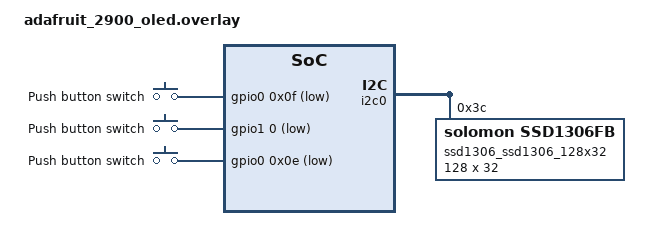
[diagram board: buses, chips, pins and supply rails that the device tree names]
/*
 * Copyright (c) 2019 PHYTEC Messtechnik GmbH
 *
 * SPDX-License-Identifier: Apache-2.0
 */

/ {
	chosen {
		zephyr,display = &ssd1306_ssd1306_128x32;
	};
};

/ {
	buttons {
		compatible = "gpio-keys";
		buttona: button_a {
			gpios = <&gpio0 0x0f 0x11>;
			label = "Push button switch";
			zephyr,code = <INPUT_KEY_A>;
		};
		buttonb: button_b {
			gpios = <&gpio1 0 0x01 >;
			label = "Push button switch";
			zephyr,code = <INPUT_KEY_B>;
		};
		buttonc: button_c {
			gpios = <&gpio0 0x0e 0x11 >;
			label = "Push button switch";
			zephyr,code = <INPUT_KEY_C>;
		};
	};
};
&i2c0 {
	status = "okay";
	ssd1306_ssd1306_128x32: ssd1306@3c {
		compatible = "solomon,ssd1306fb";
		reg = <0x3c>;
		width = <128>;
		height = <32>;
		segment-offset = <0>;
		page-offset = <0>;
		display-offset = <0>;
		multiplex-ratio = <31>;
		segment-remap;
		com-invdir;
		com-sequential;
		prechargep = <0x22>;
		ready-time-ms = <1000>; // It takes some time to start at power up (reset was fine) 100 ms is too low
	};
};
